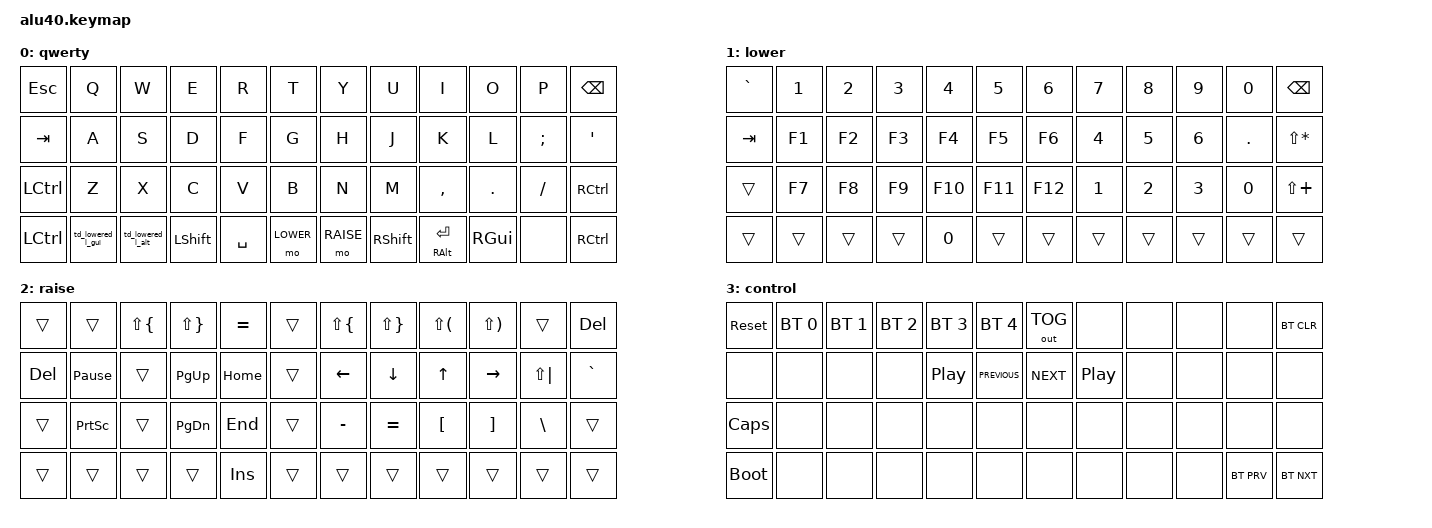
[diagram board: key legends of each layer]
/*
 * Copyright (c) 2022 The ZMK Contributors
 *
 * SPDX-License-Identifier: MIT
 */

#include <behaviors.dtsi>
#include <dt-bindings/zmk/bt.h>
#include <dt-bindings/zmk/keys.h>
#include <dt-bindings/zmk/outputs.h>

#define QWERTY 0
#define LOWER 1
#define RAISE 2
#define CONTROL 3

/ {
    conditional_layers {
        compatible = "zmk,conditional-layers";
        tri_layer {
            if-layers = <LOWER RAISE>;
            then-layer = <CONTROL>;
        };
    };
    
    behaviors {
        hold_tap: hold_tap {
            compatible = "zmk,behavior-hold-tap";
            label = "HOLD_TAP";
            bindings =
                <&kp>,
                <&kp>;
                
            #binding-cells = <2>;
            tapping-term-ms = <200>;
        };

        td_lowered_l_alt: td_lowered_l_alt {
            compatible = "zmk,behavior-tap-dance";
            label = "td_lowered_l_alt";
            #binding-cells = <0>;
            tapping-term-ms = <200>;
            bindings = 
                <&kp LALT>,
                <&lowered_l_alt>;
        };

        td_lowered_l_gui: td_lowered_l_gui {
            compatible = "zmk,behavior-tap-dance";
            label = "td_lowered_l_gui";
            #binding-cells = <0>;
            tapping-term-ms = <200>;
            bindings = 
                <&kp LEFT_GUI>,
                <&lowered_l_gui>;
        };
    };
    
    macros {
        lowered_l_alt: lowered_l_alt {
            label = "ZM_lowered_l_alt";
            compatible = "zmk,behavior-macro";
            wait-ms= <0>;
            #binding-cells = <0>;
            bindings
                = <&macro_press &mo LOWER &kp LALT>
                , <&macro_pause_for_release>
                , <&macro_release &mo LOWER &kp LALT>
                ;
        };

        lowered_l_gui: lowered_l_gui {
            label = "ZM_lowered_l_gui";
            compatible = "zmk,behavior-macro";
            wait-ms= <0>;
            #binding-cells = <0>;
            bindings
                = <&macro_press &mo LOWER &kp LEFT_GUI>
                , <&macro_pause_for_release>
                , <&macro_release &mo LOWER &kp LEFT_GUI>
                ;
        };
    };

    keymap {
        compatible = "zmk,keymap";

        qwerty {
            bindings = <
  &kp ESC         &kp Q       &kp W              &kp E      &kp R  &kp T      &kp Y      &kp U                      &kp I          &kp O     &kp P   &kp BSPC
  &kp TAB         &kp A       &kp S              &kp D      &kp F  &kp G      &kp H      &kp J                      &kp K          &kp L  &kp SEMI    &kp SQT
&kp LCTRL         &kp Z       &kp X              &kp C      &kp V  &kp B      &kp N      &kp M                  &kp COMMA        &kp DOT  &kp FSLH  &kp RCTRL
&kp LCTRL  &td_lowered_l_gui  &td_lowered_l_alt  &kp LSHFT  &kp SPACE  &mo LOWER  &mo RAISE  &kp RSHFT  &hold_tap RIGHT_ALT ENTER  &kp RIGHT_GUI     &none  &kp RCTRL
            >;
        };

        lower {
            bindings = <
&kp GRAVE  &kp N1  &kp N2  &kp N3        &kp N4   &kp N5   &kp N6  &kp N7  &kp N8  &kp N9   &kp N0      &kp BSPC
  &kp TAB  &kp F1  &kp F2  &kp F3        &kp F4   &kp F5   &kp F6  &kp N4  &kp N5  &kp N6  &kp DOT  &kp LS(STAR)
   &trans  &kp F7  &kp F8  &kp F9       &kp F10  &kp F11  &kp F12  &kp N1  &kp N2  &kp N3   &kp N0  &kp LS(PLUS)
   &trans  &trans  &trans  &trans  &kp NUMBER_0   &trans   &trans  &trans  &trans  &trans   &trans        &trans
            >;
        };

        raise {
            bindings = <
 &trans           &trans  &kp LS(LEFT_BRACE)  &kp LS(RBRC)   &kp EQUAL  &trans  &kp LS(LEFT_BRACE)  &kp LS(RIGHT_BRACE)      &kp LS(LPAR)       &kp LS(RPAR)        &trans    &kp DEL
&kp DEL  &kp PAUSE_BREAK              &trans     &kp PG_UP    &kp HOME  &trans            &kp LEFT             &kp DOWN            &kp UP          &kp RIGHT  &kp LS(PIPE)  &kp GRAVE
 &trans  &kp PRINTSCREEN              &trans     &kp PG_DN     &kp END  &trans           &kp MINUS            &kp EQUAL  &kp LEFT_BRACKET  &kp RIGHT_BRACKET      &kp BSLH     &trans
 &trans           &trans              &trans        &trans  &kp INSERT  &trans              &trans               &trans            &trans             &trans        &trans     &trans
            >;
        };

        control {
            bindings = <
  &sys_reset  &bt BT_SEL 0  &bt BT_SEL 1  &bt BT_SEL 2      &bt BT_SEL 3    &bt BT_SEL 4  &out OUT_TOG           &none  &none       &none       &none  &bt BT_CLR
       &none         &none         &none         &none  &kp C_PLAY_PAUSE  &kp C_PREVIOUS  &kp C_NEXT  &kp C_PLAY_PAUSE  &none       &none       &none       &none
&kp CAPSLOCK         &none         &none         &none             &none           &none       &none             &none  &none       &none       &none       &none
 &bootloader         &none         &none         &none             &none           &none       &none             &none  &none       &none  &bt BT_PRV  &bt BT_NXT
            >;
        };
    };
};
